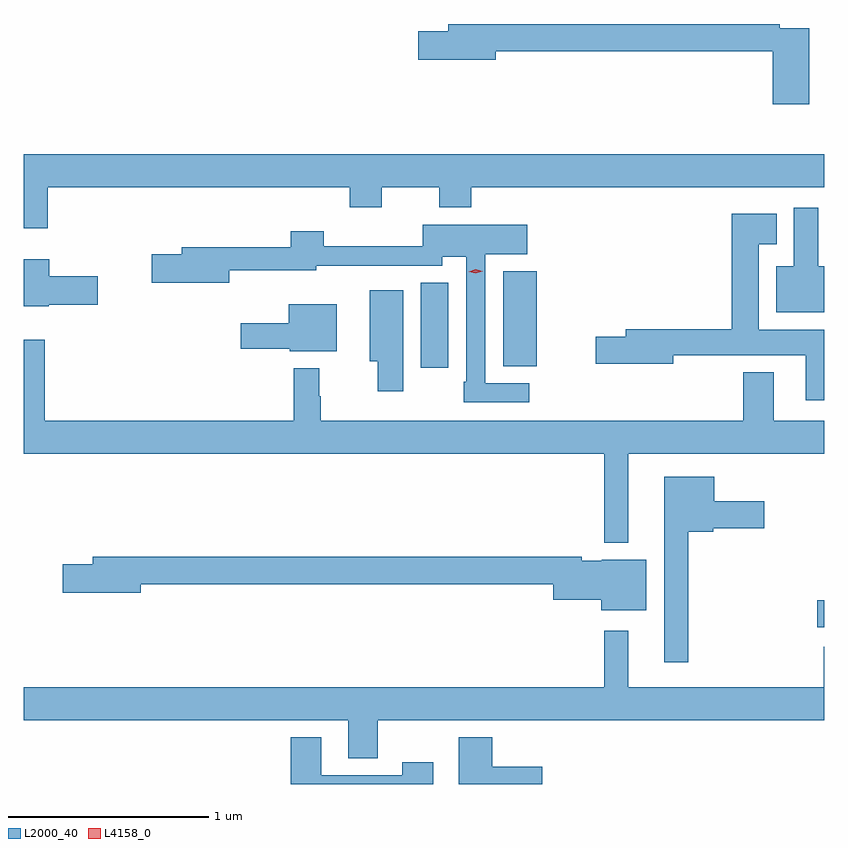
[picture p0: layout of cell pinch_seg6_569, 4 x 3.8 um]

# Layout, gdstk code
import gdstk
lib = gdstk.Library(unit=1e-6, precision=1e-09)
def R(c, l, rs):  # rectangles x0, y0, x1, y1
    for r in rs: c.add(gdstk.rectangle(r[:2], r[2:], *l))
def P(c, l, *ps):  # polygons
    for p in ps: c.add(gdstk.Polygon(p, *l))
L2000_40 = (2000, 40)
L4158_0 = (4158, 0)

pinch_seg6_569 = lib.new_cell('pinch_seg6_569')
R(pinch_seg6_569, L2000_40, [(617.324,961.121,617.359,961.256), (615.344,962.418,615.481,962.843), (615.755,962.425,615.922,962.899)])
P(pinch_seg6_569, L2000_40, [(617.285,964.116),(617.138,964.116),(617.138,964.136),(615.479,964.136),(615.479,964.1),(615.33,964.1),(615.33,963.958),(615.718,963.958),(615.718,964),(617.102,964),(617.102,963.735),(617.285,963.735)],
  [(613.478,963.32),(614.987,963.32),(614.987,963.221),(615.147,963.221),(615.147,963.32),(615.436,963.32),(615.436,963.221),(615.596,963.221),(615.596,963.32),(617.359,963.32),(617.359,963.484),(613.359,963.484),(613.359,963.114),(613.478,963.114)],
  [(617.359,962.926),(617.329,962.926),(617.329,963.217),(617.207,963.217),(617.207,962.926),(617.12,962.926),(617.12,962.696),(617.359,962.696)],
  [(617.359,962.608),(617.032,962.608),(617.032,963.035),(617.122,963.035),(617.122,963.187),(616.898,963.187),(616.898,962.609),(616.367,962.609),(616.367,962.573),(616.218,962.573),(616.218,962.438),(616.606,962.438),(616.606,962.481),(616.914,962.481),(616.914,962.48),(617.267,962.48),(617.267,962.256),(617.359,962.256)],
  [(615.886,962.34),(615.666,962.34),(615.666,962.984),(615.874,962.984),(615.874,963.133),(615.354,963.133),(615.354,963.026),(614.858,963.026),(614.858,963.1),(614.693,963.1),(614.693,963.019),(614.147,963.019),(614.147,962.985),(613.998,962.985),(613.998,962.843),(614.386,962.843),(614.386,962.905),(614.82,962.905),(614.82,962.927),(615.038,962.927),(615.038,962.928),(615.45,962.928),(615.45,962.972),(615.57,962.972),(615.57,962.347),(615.558,962.347),(615.558,962.244),(615.886,962.244)],
  [(613.482,962.732),(613.729,962.732),(613.729,962.874),(613.486,962.874),(613.486,962.959),(613.359,962.959),(613.359,962.726),(613.482,962.726)],
  [(615.256,962.806),(615.089,962.806),(615.089,962.45),(615.127,962.45),(615.127,962.301),(615.256,962.301)],
  [(614.923,962.734),(614.684,962.734),(614.684,962.641),(614.442,962.641),(614.442,962.512),(614.688,962.512),(614.688,962.501),(614.923,962.501)],
  [(616.381,961.988),(617.359,961.988),(617.359,962.152),(617.107,962.152),(617.107,962.395),(616.955,962.395),(616.955,962.152),(614.843,962.152),(614.843,962.276),(614.836,962.276),(614.836,962.416),(614.707,962.416),(614.707,962.152),(613.463,962.152),(613.463,962.557),(613.359,962.557),(613.359,961.988),(616.26,961.988),(616.26,961.544),(616.381,961.544)],
  [(616.681,961.598),(616.806,961.598),(616.806,961.616),(617.059,961.616),(617.059,961.75),(616.81,961.75),(616.81,961.873),(616.559,961.873),(616.559,960.945),(616.681,960.945)],
  [(616.471,961.459),(616.248,961.459),(616.248,961.453),(616.148,961.453),(616.148,961.472),(613.703,961.472),(613.703,961.436),(613.554,961.436),(613.554,961.294),(613.942,961.294),(613.942,961.336),(616.004,961.336),(616.004,961.259),(616.244,961.259),(616.244,961.205),(616.471,961.205)],
  [(615.129,960.656),(617.359,960.656),(617.359,961.022),(617.357,961.022),(617.357,960.82),(616.381,960.82),(616.381,961.102),(616.26,961.102),(616.26,960.82),(613.359,960.82),(613.359,960.656),(614.981,960.656),(614.981,960.466),(615.129,960.466)],
  [(615.949,960.424),(615.7,960.424),(615.7,960.571),(615.533,960.571),(615.533,960.337),(615.949,960.337)],
  [(615.406,960.445),(615.25,960.445),(615.25,960.381),(614.845,960.381),(614.845,960.571),(614.693,960.571),(614.693,960.337),(615.406,960.337)])
P(pinch_seg6_569, L4158_0, [(615.617,962.889),(615.582,962.898),(615.582,962.898),(615.582,962.898),(615.617,962.909),(615.652,962.899),(615.652,962.899),(615.652,962.899)])

lib.write_gds('pinch_seg6_569.gds')
